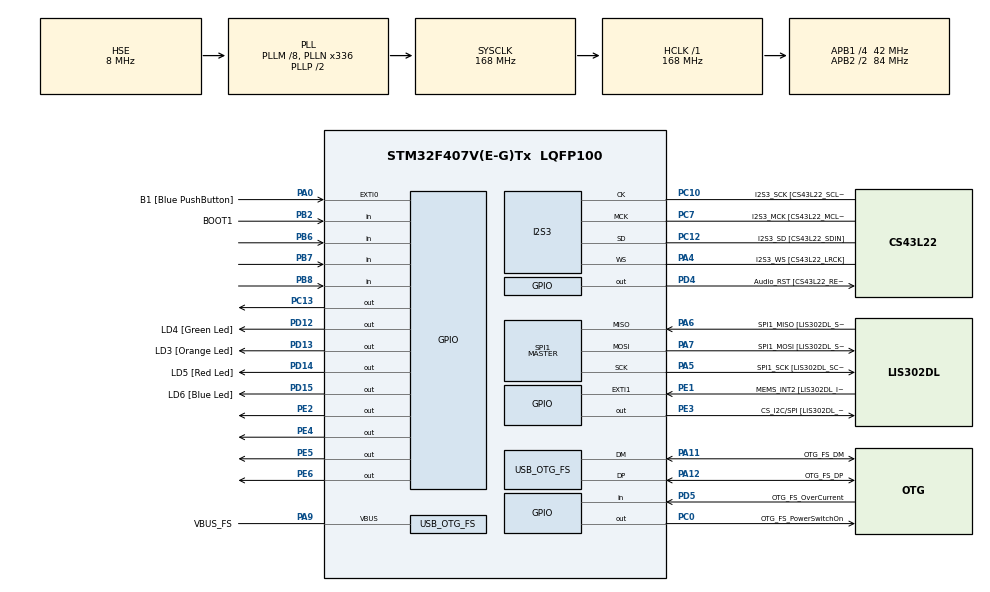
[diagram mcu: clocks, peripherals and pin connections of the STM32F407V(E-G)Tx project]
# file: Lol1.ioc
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FREERTOS.BinarySemaphores01=SensorState,Dynamic,NULL
FREERTOS.Tasks01=OverrideSwitch,2,128,OverwrideSwitch,Default,NULL,Dynamic,NULL,NULL;TrafficControl1,0,128,StartTrafficControl1,Default,NULL,Dynamic,NULL,NULL;SensorData,1,128,StartSensorData,Default,NULL,Dynamic,NULL,NULL
I2S3.AudioFreq-Half_Duplex_Master=I2S_AUDIOFREQ_96K
I2S3.ErrorAudioFreq=-2.34 %
I2S3.ErrorAudioFreq-Half_Duplex_Master=0.8 %
I2S3.FullDuplexMode=I2S_FULLDUPLEXMODE_DISABLE
I2S3.Instance=SPI$Index
I2S3.RealAudioFreq=93.75 KHz
I2S3.RealAudioFreq-Half_Duplex_Master=96.774 KHz
I2S3.VirtualMode=I2S_MODE_MASTER
Mcu.Family=STM32F4
Mcu.Name=STM32F407V(E-G)Tx
Mcu.Package=LQFP100
NVIC.OTG_FS_IRQn=true\:5\:0\:false\:false\:true\:true\:true\:true
NVIC.PriorityGroup=NVIC_PRIORITYGROUP_4
NVIC.TIM1_UP_TIM10_IRQn=true\:0\:0\:false\:false\:true\:false\:false\:true
NVIC.TimeBase=TIM1_UP_TIM10_IRQn
NVIC.TimeBaseIP=TIM1
PA0-WKUP.GPIO_Label=B1 [Blue PushButton]
PA0-WKUP.GPIO_ModeDefaultEXTI=GPIO_MODE_EVT_RISING
PA0-WKUP.GPIO_PuPd=GPIO_NOPULL
PA0-WKUP.Signal=GPXTI0
PA10.GPIO_Label=OTG_FS_ID
PA10.GPIO_Mode=GPIO_MODE_AF_PP
PA10.GPIO_PuPd=GPIO_NOPULL
PA10.GPIO_Speed=GPIO_SPEED_FREQ_LOW
PA10.Signal=USB_OTG_FS_ID
PA11.GPIO_Label=OTG_FS_DM
PA11.GPIO_Mode=GPIO_MODE_AF_PP
PA11.GPIO_PuPd=GPIO_NOPULL
PA11.GPIO_Speed=GPIO_SPEED_FREQ_LOW
PA11.Mode=Host_Only
PA11.Signal=USB_OTG_FS_DM
PA12.GPIO_Label=OTG_FS_DP
PA12.GPIO_Mode=GPIO_MODE_AF_PP
PA12.GPIO_PuPd=GPIO_NOPULL
PA12.GPIO_Speed=GPIO_SPEED_FREQ_LOW
PA12.Mode=Host_Only
PA12.Signal=USB_OTG_FS_DP
PA13.GPIO_Label=SWDIO
PA13.Mode=Serial_Wire
PA13.Signal=SYS_JTMS-SWDIO
PA14.GPIO_Label=SWCLK
PA14.Mode=Serial_Wire
PA14.Signal=SYS_JTCK-SWCLK
PA4.GPIO_Label=I2S3_WS [CS43L22_LRCK]
PA4.GPIO_Mode=GPIO_MODE_AF_PP
PA4.GPIO_PuPd=GPIO_NOPULL
PA4.GPIO_Speed=GPIO_SPEED_FREQ_LOW
PA4.Mode=Half_Duplex_Master
PA4.Signal=I2S3_WS
PA5.GPIO_Label=SPI1_SCK [LIS302DL_SCL/SPC]
PA5.GPIO_Mode=GPIO_MODE_AF_PP
PA5.GPIO_PuPd=GPIO_NOPULL
PA5.GPIO_Speed=GPIO_SPEED_FREQ_LOW
PA5.Mode=Full_Duplex_Master
PA5.Signal=SPI1_SCK
PA6.GPIO_Label=SPI1_MISO [LIS302DL_SDO]
PA6.GPIO_Mode=GPIO_MODE_AF_PP
PA6.GPIO_PuPd=GPIO_NOPULL
PA6.GPIO_Speed=GPIO_SPEED_FREQ_LOW
PA6.Mode=Full_Duplex_Master
PA6.Signal=SPI1_MISO
PA7.GPIO_Label=SPI1_MOSI [LIS302DL_SDA/SDI/SDO]
PA7.GPIO_Mode=GPIO_MODE_AF_PP
PA7.GPIO_PuPd=GPIO_NOPULL
PA7.GPIO_Speed=GPIO_SPEED_FREQ_LOW
PA7.Mode=Full_Duplex_Master
PA7.Signal=SPI1_MOSI
PA9.GPIO_Label=VBUS_FS
PA9.GPIO_Mode=GPIO_MODE_INPUT
PA9.GPIO_PuPd=GPIO_NOPULL
PA9.Mode=Activate_VBUS
PA9.Signal=USB_OTG_FS_VBUS
PB10.GPIO_Label=CLK_IN [MP45DT02_CLK]
PB10.GPIO_Mode=GPIO_MODE_AF_PP
PB10.GPIO_PuPd=GPIO_NOPULL
PB10.GPIO_Speed=GPIO_SPEED_FREQ_LOW
PB10.Signal=I2S2_CK
PB2.GPIO_Label=BOOT1
PB2.GPIO_Mode=GPIO_MODE_INPUT
PB2.GPIO_PuPd=GPIO_NOPULL
PB2.Signal=GPIO_Input
PB3.GPIO_Label=SWO
PB3.Signal=SYS_JTDO-SWO
PB6.Signal=GPIO_Input
PB7.GPIO_PuPd=GPIO_PULLDOWN
PB7.Signal=GPIO_Input
PB8.GPIO_PuPd=GPIO_PULLDOWN
PB8.Signal=GPIO_Input
PB9.GPIO_Label=Audio_SDA [CS43L22_SDA]
PB9.GPIO_Mode=GPIO_MODE_AF_OD
PB9.GPIO_PuPd=GPIO_NOPULL
PB9.GPIO_Speed=GPIO_SPEED_FREQ_LOW
PB9.Signal=I2C1_SDA
PC0.GPIO_Label=OTG_FS_PowerSwitchOn
PC0.GPIO_PuPd=GPIO_NOPULL
PC0.GPIO_Speed=GPIO_SPEED_FREQ_LOW
PC0.PinState=GPIO_PIN_SET
PC0.Signal=GPIO_Output
PC10.GPIO_Label=I2S3_SCK [CS43L22_SCLK]
PC10.GPIO_Mode=GPIO_MODE_AF_PP
PC10.GPIO_PuPd=GPIO_NOPULL
PC10.GPIO_Speed=GPIO_SPEED_FREQ_LOW
PC10.Mode=Half_Duplex_Master
PC10.Signal=I2S3_CK
PC12.GPIO_Label=I2S3_SD [CS43L22_SDIN]
PC12.GPIO_Mode=GPIO_MODE_AF_PP
PC12.GPIO_PuPd=GPIO_NOPULL
PC12.GPIO_Speed=GPIO_SPEED_FREQ_LOW
PC12.Mode=Half_Duplex_Master
PC12.Signal=I2S3_SD
PC13-ANTI_TAMP.Signal=GPIO_Output
PC14-OSC32_IN.GPIO_Label=PC14-OSC32_IN
PC14-OSC32_IN.Mode=LSE-External-Oscillator
PC14-OSC32_IN.Signal=RCC_OSC32_IN
PC15-OSC32_OUT.GPIO_Label=PC15-OSC32_OUT
PC15-OSC32_OUT.Mode=LSE-External-Oscillator
PC15-OSC32_OUT.Signal=RCC_OSC32_OUT
PC3.GPIO_Label=PDM_OUT [MP45DT02_DOUT]
PC3.GPIO_Mode=GPIO_MODE_AF_PP
PC3.GPIO_PuPd=GPIO_NOPULL
PC3.GPIO_Speed=GPIO_SPEED_FREQ_LOW
PC3.Signal=I2S2_SD
PC7.GPIO_Label=I2S3_MCK [CS43L22_MCLK]
PC7.GPIO_Mode=GPIO_MODE_AF_PP
PC7.GPIO_PuPd=GPIO_NOPULL
PC7.GPIO_Speed=GPIO_SPEED_FREQ_LOW
PC7.Mode=Master_Clock_Activated
PC7.Signal=I2S3_MCK
PD12.GPIO_Label=LD4 [Green Led]
PD12.GPIO_PuPd=GPIO_NOPULL
PD12.GPIO_Speed=GPIO_SPEED_FREQ_LOW
PD12.Signal=GPIO_Output
PD13.GPIO_Label=LD3 [Orange Led]
PD13.GPIO_PuPd=GPIO_NOPULL
PD13.GPIO_Speed=GPIO_SPEED_FREQ_LOW
PD13.Signal=GPIO_Output
PD14.GPIO_Label=LD5 [Red Led]
PD14.GPIO_PuPd=GPIO_NOPULL
PD14.GPIO_Speed=GPIO_SPEED_FREQ_LOW
PD14.Signal=GPIO_Output
PD15.GPIO_Label=LD6 [Blue Led]
PD15.GPIO_PuPd=GPIO_NOPULL
PD15.GPIO_Speed=GPIO_SPEED_FREQ_LOW
PD15.Signal=GPIO_Output
PD4.GPIO_Label=Audio_RST [CS43L22_RESET]
PD4.GPIO_PuPd=GPIO_NOPULL
PD4.GPIO_Speed=GPIO_SPEED_FREQ_LOW
PD4.Signal=GPIO_Output
PD5.GPIO_Label=OTG_FS_OverCurrent
PD5.GPIO_Mode=GPIO_MODE_INPUT
PD5.GPIO_PuPd=GPIO_NOPULL
PD5.Signal=GPIO_Input
PE1.GPIO_Label=MEMS_INT2 [LIS302DL_INT2]
PE1.GPIO_ModeDefaultEXTI=GPIO_MODE_EVT_RISING
PE1.GPIO_PuPd=GPIO_NOPULL
PE1.Signal=GPXTI1
PE2.Signal=GPIO_Output
PE3.GPIO_Label=CS_I2C/SPI [LIS302DL_CS_I2C/SPI]
PE3.GPIO_PuPd=GPIO_NOPULL
PE3.GPIO_Speed=GPIO_SPEED_FREQ_LOW
PE3.Signal=GPIO_Output
PE4.Signal=GPIO_Output
PE5.Signal=GPIO_Output
PE6.Signal=GPIO_Output
PH0-OSC_IN.GPIO_Label=PH0-OSC_IN
PH0-OSC_IN.Mode=HSE-External-Oscillator
PH0-OSC_IN.Signal=RCC_OSC_IN
PH1-OSC_OUT.GPIO_Label=PH1-OSC_OUT
PH1-OSC_OUT.Mode=HSE-External-Oscillator
PH1-OSC_OUT.Signal=RCC_OSC_OUT
ProjectManager.HeapSize=0x200
ProjectManager.StackSize=0x400
ProjectManager.TargetToolchain=STM32CubeIDE
RCC.48MHZClocksFreq_Value=48000000
RCC.AHBFreq_Value=168000000
RCC.APB1CLKDivider=RCC_HCLK_DIV4
RCC.APB1Freq_Value=42000000
RCC.APB1TimFreq_Value=84000000
RCC.APB2CLKDivider=RCC_HCLK_DIV2
RCC.APB2Freq_Value=84000000
RCC.APB2TimFreq_Value=168000000
RCC.CortexFreq_Value=168000000
RCC.HCLKFreq_Value=168000000
RCC.HSE_VALUE=8000000
RCC.HSI_VALUE=16000000
RCC.PLLM=8
RCC.PLLN=336
RCC.PLLQ=7
RCC.SYSCLKFreq_VALUE=168000000
RCC.SYSCLKSource=RCC_SYSCLKSOURCE_PLLCLK
RCC.VCOOutputFreq_Value=336000000
SPI1.BaudRatePrescaler-Full_Duplex_Master=SPI_BAUDRATEPRESCALER_2
SPI1.CalculateBaudRate-Full_Duplex_Master=42.0 MBits/s
SPI1.Direction=SPI_DIRECTION_2LINES
SPI1.Mode=SPI_MODE_MASTER
SPI1.Mode-Full_Duplex_Master=SPI_MODE_MASTER
SPI1.VirtualType=VM_MASTER
USB_HOST.BSP.number=1
USB_HOST.USBH_HandleTypeDef-CDC_FS=hUsbHostFS
USB_HOST.USBH_USE_OS-CDC_FS=0
USB_HOST.VirtualModeFS=Cdc
USB_HOST0.BSP.STBoard=false
USB_HOST0.BSP.api=Unknown
USB_HOST0.BSP.i2caddr=0
USB_HOST0.BSP.i2creg=0
USB_HOST0.BSP.instance=PC0
USB_HOST0.BSP.ip=GPIO
USB_HOST0.BSP.mode=Output
USB_HOST0.BSP.name=Drive_VBUS_FS
USB_HOST0.BSP.solution=PC0
USB_OTG_FS.VirtualMode=Host_Only
USB_OTG_FS.phy_itface=HCD_PHY_EMBEDDED
VP_FREERTOS_VS_CMSIS_V1.Mode=CMSIS_V1
VP_SYS_VS_tim1.Mode=TIM1
VP_USB_HOST_VS_USB_HOST_CDC_FS.Mode=CDC_FS
board=STM32F407G-DISC1

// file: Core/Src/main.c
/* USER CODE BEGIN Header */
/**
  ******************************************************************************
  * @file           : main.c
  * @brief          : Main program body
  ******************************************************************************
  * @attention
  *
  * <h2><center>&copy; Copyright (c) 2021 STMicroelectronics.
  * All rights reserved.</center></h2>
  *
  * This software component is licensed by ST under Ultimate Liberty license
  * SLA0044, the "License"; You may not use this file except in compliance with
  * the License. You may obtain a copy of the License at:
  *                             www.st.com/SLA0044
  *
  ******************************************************************************
  */
/* USER CODE END Header */
#include "main.h"
#include "cmsis_os.h"
#include "usb_host.h"

I2S_HandleTypeDef hi2s3;

SPI_HandleTypeDef hspi1;

osThreadId OverrideSwitchHandle;
osThreadId TrafficControl1Handle;
osThreadId SensorDataHandle;
osSemaphoreId SensorStateHandle;

void SystemClock_Config(void);
static void MX_GPIO_Init(void);
static void MX_I2S3_Init(void);
static void MX_SPI1_Init(void);
void OverwrideSwitch(void const * argument);
void StartTrafficControl1(void const * argument);
void StartSensorData(void const * argument);

/* USER CODE BEGIN 0 */
int counter = 0;
int switcher = 0;
int global_sensor = 0;
float r_sensor[10];
/* USER CODE END 0 */

int main(void)
{

  /* MCU Configuration--------------------------------------------------------*/

  /* Reset of all peripherals, Initializes the Flash interface and the Systick. */
  HAL_Init();

  /* Configure the system clock */
  SystemClock_Config();

  /* Initialize all configured peripherals */
  MX_GPIO_Init();
  MX_I2S3_Init();
  MX_SPI1_Init();

  /* Create the semaphores(s) */
  /* definition and creation of SensorState */
  osSemaphoreDef(SensorState);
  SensorStateHandle = osSemaphoreCreate(osSemaphore(SensorState), 1);

  /* Create the thread(s) */
  /* definition and creation of OverrideSwitch */
  osThreadDef(OverrideSwitch, OverwrideSwitch, osPriorityHigh, 0, 128);
  OverrideSwitchHandle = osThreadCreate(osThread(OverrideSwitch), NULL);

  /* definition and creation of TrafficControl1 */
  osThreadDef(TrafficControl1, StartTrafficControl1, osPriorityNormal, 0, 128);
  TrafficControl1Handle = osThreadCreate(osThread(TrafficControl1), NULL);

  /* definition and creation of SensorData */
  osThreadDef(SensorData, StartSensorData, osPriorityAboveNormal, 0, 128);
  SensorDataHandle = osThreadCreate(osThread(SensorData), NULL);

  /* Start scheduler */
  osKernelStart();

  /* We should never get here as control is now taken by the scheduler */
  /* Infinite loop */
  while (1)
  {

  }
}

void SystemClock_Config(void)
{
  RCC_OscInitTypeDef RCC_OscInitStruct = {0};
  RCC_ClkInitTypeDef RCC_ClkInitStruct = {0};
  RCC_PeriphCLKInitTypeDef PeriphClkInitStruct = {0};

  /** Configure the main internal regulator output voltage
  */
  __HAL_RCC_PWR_CLK_ENABLE();
  __HAL_PWR_VOLTAGESCALING_CONFIG(PWR_REGULATOR_VOLTAGE_SCALE1);
  /** Initializes the RCC Oscillators according to the specified parameters
  * in the RCC_OscInitTypeDef structure.
  */
  RCC_OscInitStruct.OscillatorType = RCC_OSCILLATORTYPE_HSE;
  RCC_OscInitStruct.HSEState = RCC_HSE_ON;
  RCC_OscInitStruct.PLL.PLLState = RCC_PLL_ON;
  RCC_OscInitStruct.PLL.PLLSource = RCC_PLLSOURCE_HSE;
  RCC_OscInitStruct.PLL.PLLM = 8;
  RCC_OscInitStruct.PLL.PLLN = 336;
  RCC_OscInitStruct.PLL.PLLP = RCC_PLLP_DIV2;
  RCC_OscInitStruct.PLL.PLLQ = 7;
  if (HAL_RCC_OscConfig(&RCC_OscInitStruct) != HAL_OK)
  {
    Error_Handler();
  }
  /** Initializes the CPU, AHB and APB buses clocks
  */
  RCC_ClkInitStruct.ClockType = RCC_CLOCKTYPE_HCLK|RCC_CLOCKTYPE_SYSCLK
                              |RCC_CLOCKTYPE_PCLK1|RCC_CLOCKTYPE_PCLK2;
  RCC_ClkInitStruct.SYSCLKSource = RCC_SYSCLKSOURCE_PLLCLK;
  RCC_ClkInitStruct.AHBCLKDivider = RCC_SYSCLK_DIV1;
  RCC_ClkInitStruct.APB1CLKDivider = RCC_HCLK_DIV4;
  RCC_ClkInitStruct.APB2CLKDivider = RCC_HCLK_DIV2;

  if (HAL_RCC_ClockConfig(&RCC_ClkInitStruct, FLASH_LATENCY_5) != HAL_OK)
  {
    Error_Handler();
  }
  PeriphClkInitStruct.PeriphClockSelection = RCC_PERIPHCLK_I2S;
  PeriphClkInitStruct.PLLI2S.PLLI2SN = 192;
  PeriphClkInitStruct.PLLI2S.PLLI2SR = 2;
  if (HAL_RCCEx_PeriphCLKConfig(&PeriphClkInitStruct) != HAL_OK)
  {
    Error_Handler();
  }
}

static void MX_I2S3_Init(void)
{

  hi2s3.Instance = SPI3;
  hi2s3.Init.Mode = I2S_MODE_MASTER_TX;
  hi2s3.Init.Standard = I2S_STANDARD_PHILIPS;
  hi2s3.Init.DataFormat = I2S_DATAFORMAT_16B;
  hi2s3.Init.MCLKOutput = I2S_MCLKOUTPUT_ENABLE;
  hi2s3.Init.AudioFreq = I2S_AUDIOFREQ_96K;
  hi2s3.Init.CPOL = I2S_CPOL_LOW;
  hi2s3.Init.ClockSource = I2S_CLOCK_PLL;
  hi2s3.Init.FullDuplexMode = I2S_FULLDUPLEXMODE_DISABLE;
  if (HAL_I2S_Init(&hi2s3) != HAL_OK)
  {
    Error_Handler();
  }

}

static void MX_SPI1_Init(void)
{

  /* SPI1 parameter configuration*/
  hspi1.Instance = SPI1;
  hspi1.Init.Mode = SPI_MODE_MASTER;
  hspi1.Init.Direction = SPI_DIRECTION_2LINES;
  hspi1.Init.DataSize = SPI_DATASIZE_8BIT;
  hspi1.Init.CLKPolarity = SPI_POLARITY_LOW;
  hspi1.Init.CLKPhase = SPI_PHASE_1EDGE;
  hspi1.Init.NSS = SPI_NSS_SOFT;
  hspi1.Init.BaudRatePrescaler = SPI_BAUDRATEPRESCALER_2;
  hspi1.Init.FirstBit = SPI_FIRSTBIT_MSB;
  hspi1.Init.TIMode = SPI_TIMODE_DISABLE;
  hspi1.Init.CRCCalculation = SPI_CRCCALCULATION_DISABLE;
  hspi1.Init.CRCPolynomial = 10;
  if (HAL_SPI_Init(&hspi1) != HAL_OK)
  {
    Error_Handler();
  }

}

static void MX_GPIO_Init(void)
{
  GPIO_InitTypeDef GPIO_InitStruct = {0};

  /* GPIO Ports Clock Enable */
  __HAL_RCC_GPIOE_CLK_ENABLE();
  __HAL_RCC_GPIOC_CLK_ENABLE();
  __HAL_RCC_GPIOH_CLK_ENABLE();
  __HAL_RCC_GPIOA_CLK_ENABLE();
  __HAL_RCC_GPIOB_CLK_ENABLE();
  __HAL_RCC_GPIOD_CLK_ENABLE();

  /*Configure GPIO pin Output Level */
  HAL_GPIO_WritePin(GPIOE, GPIO_PIN_2|CS_I2C_SPI_Pin|GPIO_PIN_4|GPIO_PIN_5
                          |GPIO_PIN_6, GPIO_PIN_RESET);

  /*Configure GPIO pin Output Level */
  HAL_GPIO_WritePin(GPIOC, GPIO_PIN_13, GPIO_PIN_RESET);

  /*Configure GPIO pin Output Level */
  HAL_GPIO_WritePin(OTG_FS_PowerSwitchOn_GPIO_Port, OTG_FS_PowerSwitchOn_Pin, GPIO_PIN_SET);

  /*Configure GPIO pin Output Level */
  HAL_GPIO_WritePin(GPIOD, LD4_Pin|LD3_Pin|LD5_Pin|LD6_Pin
                          |Audio_RST_Pin, GPIO_PIN_RESET);

  /*Configure GPIO pins : PE2 CS_I2C_SPI_Pin PE4 PE5
                           PE6 */
  GPIO_InitStruct.Pin = GPIO_PIN_2|CS_I2C_SPI_Pin|GPIO_PIN_4|GPIO_PIN_5
                          |GPIO_PIN_6;
  GPIO_InitStruct.Mode = GPIO_MODE_OUTPUT_PP;
  GPIO_InitStruct.Pull = GPIO_NOPULL;
  GPIO_InitStruct.Speed = GPIO_SPEED_FREQ_LOW;
  HAL_GPIO_Init(GPIOE, &GPIO_InitStruct);

  /*Configure GPIO pins : PC13 OTG_FS_PowerSwitchOn_Pin */
  GPIO_InitStruct.Pin = GPIO_PIN_13|OTG_FS_PowerSwitchOn_Pin;
  GPIO_InitStruct.Mode = GPIO_MODE_OUTPUT_PP;
  GPIO_InitStruct.Pull = GPIO_NOPULL;
  GPIO_InitStruct.Speed = GPIO_SPEED_FREQ_LOW;
  HAL_GPIO_Init(GPIOC, &GPIO_InitStruct);

  /*Configure GPIO pin : PDM_OUT_Pin */
  GPIO_InitStruct.Pin = PDM_OUT_Pin;
  GPIO_InitStruct.Mode = GPIO_MODE_AF_PP;
  GPIO_InitStruct.Pull = GPIO_NOPULL;
  GPIO_InitStruct.Speed = GPIO_SPEED_FREQ_LOW;
  GPIO_InitStruct.Alternate = GPIO_AF5_SPI2;
  HAL_GPIO_Init(PDM_OUT_GPIO_Port, &GPIO_InitStruct);

  /*Configure GPIO pin : B1_Pin */
  GPIO_InitStruct.Pin = B1_Pin;
  GPIO_InitStruct.Mode = GPIO_MODE_EVT_RISING;
  GPIO_InitStruct.Pull = GPIO_NOPULL;
  HAL_GPIO_Init(B1_GPIO_Port, &GPIO_InitStruct);

  /*Configure GPIO pins : BOOT1_Pin PB6 */
  GPIO_InitStruct.Pin = BOOT1_Pin|GPIO_PIN_6;
  GPIO_InitStruct.Mode = GPIO_MODE_INPUT;
  GPIO_InitStruct.Pull = GPIO_NOPULL;
  HAL_GPIO_Init(GPIOB, &GPIO_InitStruct);

  /*Configure GPIO pin : CLK_IN_Pin */
  GPIO_InitStruct.Pin = CLK_IN_Pin;
  GPIO_InitStruct.Mode = GPIO_MODE_AF_PP;
  GPIO_InitStruct.Pull = GPIO_NOPULL;
  GPIO_InitStruct.Speed = GPIO_SPEED_FREQ_LOW;
  GPIO_InitStruct.Alternate = GPIO_AF5_SPI2;
  HAL_GPIO_Init(CLK_IN_GPIO_Port, &GPIO_InitStruct);

  /*Configure GPIO pins : LD4_Pin LD3_Pin LD5_Pin LD6_Pin
                           Audio_RST_Pin */
  GPIO_InitStruct.Pin = LD4_Pin|LD3_Pin|LD5_Pin|LD6_Pin
                          |Audio_RST_Pin;
  GPIO_InitStruct.Mode = GPIO_MODE_OUTPUT_PP;
  GPIO_InitStruct.Pull = GPIO_NOPULL;
  GPIO_InitStruct.Speed = GPIO_SPEED_FREQ_LOW;
  HAL_GPIO_Init(GPIOD, &GPIO_InitStruct);

  /*Configure GPIO pin : OTG_FS_OverCurrent_Pin */
  GPIO_InitStruct.Pin = OTG_FS_OverCurrent_Pin;
  GPIO_InitStruct.Mode = GPIO_MODE_INPUT;
  GPIO_InitStruct.Pull = GPIO_NOPULL;
  HAL_GPIO_Init(OTG_FS_OverCurrent_GPIO_Port, &GPIO_InitStruct);

  /*Configure GPIO pins : PB7 PB8 */
  GPIO_InitStruct.Pin = GPIO_PIN_7|GPIO_PIN_8;
  GPIO_InitStruct.Mode = GPIO_MODE_INPUT;
  GPIO_InitStruct.Pull = GPIO_PULLDOWN;
  HAL_GPIO_Init(GPIOB, &GPIO_InitStruct);

  /*Configure GPIO pin : Audio_SDA_Pin */
  GPIO_InitStruct.Pin = Audio_SDA_Pin;
  GPIO_InitStruct.Mode = GPIO_MODE_AF_OD;
  GPIO_InitStruct.Pull = GPIO_PULLUP;
  GPIO_InitStruct.Speed = GPIO_SPEED_FREQ_LOW;
  GPIO_InitStruct.Alternate = GPIO_AF4_I2C1;
  HAL_GPIO_Init(Audio_SDA_GPIO_Port, &GPIO_InitStruct);

  /*Configure GPIO pin : MEMS_INT2_Pin */
  GPIO_InitStruct.Pin = MEMS_INT2_Pin;
  GPIO_InitStruct.Mode = GPIO_MODE_EVT_RISING;
  GPIO_InitStruct.Pull = GPIO_NOPULL;
  HAL_GPIO_Init(MEMS_INT2_GPIO_Port, &GPIO_InitStruct);

}

void OverwrideSwitch(void const * argument)
{
	/* init code for USB_HOST */
  MX_USB_HOST_Init();
  /* USER CODE BEGIN 5 */
  /* Infinite loop */
  for(;;)
  {
	  int n = 1;
	  if(HAL_GPIO_ReadPin(GPIOB, GPIO_PIN_8))
	  {
		  osSemaphoreWait(SensorStateHandle, osWaitForever);
		  HAL_GPIO_WritePin(GPIOE, GPIO_PIN_6, GPIO_PIN_SET);
		  HAL_GPIO_WritePin(GPIOE, GPIO_PIN_5, GPIO_PIN_RESET);
		  HAL_GPIO_WritePin(GPIOE, GPIO_PIN_4, GPIO_PIN_RESET);
		  HAL_GPIO_WritePin(GPIOE, GPIO_PIN_2, GPIO_PIN_SET);
		  HAL_Delay(5000);
		  n = 2000;
		  counter = 0;
	  	  while(HAL_GPIO_ReadPin(GPIOB, GPIO_PIN_8) == 0)

	  	  osSemaphoreRelease(SensorStateHandle);
	  }
	  osDelay(n);
  }
  /* USER CODE END 5 */
}

void StartTrafficControl1(void const * argument)
{
  /* USER CODE BEGIN StartTrafficControl1 */
  /* Infinite loop */
  for(;;)
  {
	  int n = 5000;
	  osSemaphoreWait(SensorStateHandle, osWaitForever);
	  if (global_sensor == 1 && counter == 1)
	  {
		  osDelay(n);
		  counter = 0;
		  osSemaphoreRelease(SensorStateHandle);
	  }
	  else
	  {
		  counter = 1;
		  if(switcher == 1)
		  {
			  HAL_GPIO_WritePin(GPIOE, GPIO_PIN_6, GPIO_PIN_SET);
			  HAL_GPIO_WritePin(GPIOE, GPIO_PIN_5, GPIO_PIN_RESET);
			  HAL_GPIO_WritePin(GPIOE, GPIO_PIN_4, GPIO_PIN_SET);
			  HAL_GPIO_WritePin(GPIOE, GPIO_PIN_2, GPIO_PIN_RESET);
			  switcher = 0;
		  }
		  else
		  {
			  HAL_GPIO_WritePin(GPIOE, GPIO_PIN_6, GPIO_PIN_RESET);
			  HAL_GPIO_WritePin(GPIOE, GPIO_PIN_5, GPIO_PIN_SET);
			  HAL_GPIO_WritePin(GPIOE, GPIO_PIN_4, GPIO_PIN_RESET);
			  HAL_GPIO_WritePin(GPIOE, GPIO_PIN_2, GPIO_PIN_SET);
			  switcher = 1;
		  }
		  /*
		  HA1L_GPIO_WritePin(GPIOE, GPIO_PIN_4, GPIO_PIN_RESET);
		  HAL_GPIO_WritePin(GPIOE, GPIO_PIN_2, GPIO_PIN_RESET);
		  */
		  osSemaphoreRelease(SensorStateHandle);
		  osDelay(n);
	  }
  }
  /* USER CODE END StartTrafficControl1 */
}

void StartSensorData(void const * argument)
{
  /* USER CODE BEGIN StartSensorData */
  /* Infinite loop */
  for(;;)
  {
	  osSemaphoreWait(SensorStateHandle, osWaitForever);
	  // Moving Average Filter
	  float sensor_dsp = 0;

	  for (int i = 8; i >= 0; i--)
	  {
		  r_sensor[i + 1] = r_sensor[i];
		  sensor_dsp = sensor_dsp + r_sensor[i];
	  }
	  r_sensor[0] = HAL_GPIO_ReadPin(GPIOB, GPIO_PIN_7);

	  sensor_dsp = sensor_dsp + r_sensor[0];
	  sensor_dsp = sensor_dsp / 10;

	  if (sensor_dsp > 0.2)
	  {
		HAL_GPIO_WritePin(GPIOC, GPIO_PIN_13, GPIO_PIN_SET);
		global_sensor = 1;
	  }
	  else
	  {
		HAL_GPIO_WritePin(GPIOC, GPIO_PIN_13, GPIO_PIN_RESET);
		global_sensor = 0;
	  }
	  osSemaphoreRelease(SensorStateHandle);
	  osDelay(1);
  }
  /* USER CODE END StartSensorData */
}

 /**
  * @brief  Period elapsed callback in non blocking mode
  * @note   This function is called  when TIM1 interrupt took place, inside
  * HAL_TIM_IRQHandler(). It makes a direct call to HAL_IncTick() to increment
  * a global variable "uwTick" used as application time base.
  * @param  htim : TIM handle
  * @retval None
  */
void HAL_TIM_PeriodElapsedCallback(TIM_HandleTypeDef *htim)
{
  if (htim->Instance == TIM1) {
    HAL_IncTick();
  }
}

void Error_Handler(void)
{
  __disable_irq();
  while (1)
  {
  }
}

/************************ (C) COPYRIGHT STMicroelectronics *****END OF FILE****/
